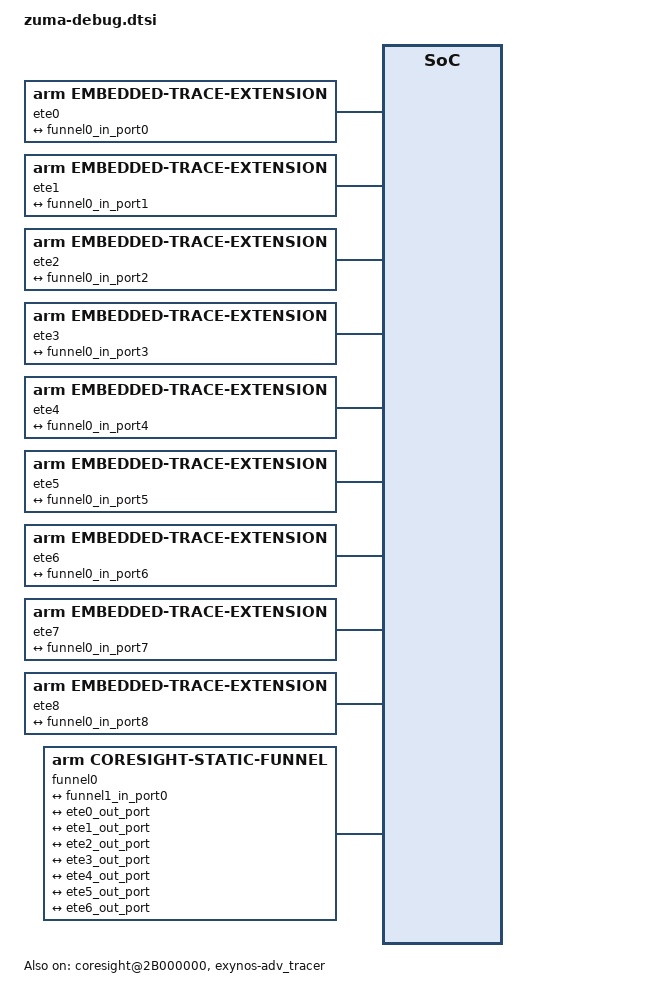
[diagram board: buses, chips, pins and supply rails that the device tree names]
// SPDX-License-Identifier: GPL-2.0-only
/*
 * debug device tree source code for Zuma SoC
 *
 * Copyright 2022 Google LLC.
 */

#include <dt-bindings/interrupt-controller/zuma.h>
#include "zuma-ppmu.dtsi"
/ {
	dss: dss {
		compatible = "google,debug-snapshot";
		freq_names = "LIT", "MID", "BIG", "INT", "MIF", "ISP",
				"DISP", "INTCAM", "TPU", "TNR", "MFC",
				"BO";
		memory-region = <&header>, <&log_kevents>, <&log_bcm>, <&log_s2d>,
				<&log_arrdumpreset>, <&log_arrdumppanic>,
				<&log_slcdump>, <&log_preslcdump>,
				<&log_itmon>;
		panic-action = <GO_DEFAULT_ID>;
	};

	hardlockup-debugger {
		compatible = "google,hardlockup-debug";
		use_multistage_wdt_irq = <800>;
	};

	hardlockup-watchdog {
		compatible = "google,hardlockup-watchdog";
		sampling_time = <4>;
		opportunity_count = <3>;
		panic = <1>;
	};

	dss-built {
		compatible = "google,debug-snapshot-built";
		memory-region = <&header>;
	};

	dss-qdump {
		compatible = "google,debug-snapshot-qdump";
	};

	dss-sfrdump {
		compatible = "google,debug-snapshot-sfrdump";
		/*
		 * -----------<< Example >>-------------------
		 * dump-info {
		 *	#address-cells = <1>;
		 *	#size-cells = <1>;
		 *
		 *	gic-setenable {
		 *		reg = <0x11f01100 0x100>;
		 *	};
		 *	gic-setpend {
		 *		reg = <0x11f01200 0x100>;
		 *	};
		 *	gic-setactive {
		 *		reg = <0x11f01300 0x100>;
		 *	};
		 *};
		 */
	};

	dss-debug-kinfo {
		compatible = "google,debug-snapshot-debug-kinfo";
		memory-region = <&debug_kinfo_reserved>;
	};

	exynos-debug-test {
		compatible = "google,exynos-debug-test";
		ps_hold_control_offset = <0x3e9c>;
		nr_cpu = <0x9>;
		nr_little_cpu = <0x4>;
		nr_mid_cpu = <0x4>;
		nr_big_cpu = <0x1>;
		little_cpu_start = <0x0>;
		mid_cpu_start = <0x4>;
		big_cpu_start = <0x8>;
	};

	keydebug {
		compatible = "keydebug";
		key_down_delay = <6000>;
		keys_down = <116 115>;
		dbg_fn_delay = <2000>;
	};

	debug-kinfo {
		compatible = "google,debug-kinfo";
		memory-region = <&debug_kinfo_reserved>;
	};

	boot-metrics {
		compatible = "google,boot-metrics";

		reg = <0x0 0x02038000 0x00001000>;
		reg-names = "ns_sram_base";
		offset = <0x880>;
	};

	pixel-suspend-diag {
		compatible = "google,pixel-suspend-diag";
	};

	pmu@30000000 {
		compatible = "arm,ci-700";
		reg = <0x0 0x30000000 0x4000000>;
		interrupts = <GIC_SPI IRQ_CPUCL0_INTREQPMU_NID68_CPUCL0 IRQ_TYPE_LEVEL_HIGH 0>;
	};

	itmon: exynos-itmon {
		compatible = "samsung,exynos-itmon-v2";
		memory-region = <&log_itmon>;
		interrupts =
			<GIC_SPI IRQ_TREX_D_NOCL1A_debugInterrupt_NOCL1A
							IRQ_TYPE_LEVEL_HIGH 0>,
			<GIC_SPI IRQ_TREX_D_NOCL1B_debugInterrupt_NOCL1B
							IRQ_TYPE_LEVEL_HIGH 0>,
			<GIC_SPI IRQ_TREX_D_NOCL2AA_debugInterrupt_NOCL2AA
							IRQ_TYPE_LEVEL_HIGH 0>,
			<GIC_SPI IRQ_TREX_D_NOCL2AB_debugInterrupt_NOCL2AB
							IRQ_TYPE_LEVEL_HIGH 0>,
			<GIC_SPI IRQ_TREX_D_NOCL0_debugInterrupt_NOCL0
							IRQ_TYPE_LEVEL_HIGH 0>,
			<GIC_SPI IRQ_TREX_P_NOCL1A_debugInterrupt_NOCL1A
							IRQ_TYPE_LEVEL_HIGH 0>,
			<GIC_SPI IRQ_TREX_P_NOCL1B_debugInterrupt_NOCL1B
							IRQ_TYPE_LEVEL_HIGH 0>,
			<GIC_SPI IRQ_TREX_P_NOCL2AA_debugInterrupt_NOCL2AA
							IRQ_TYPE_LEVEL_HIGH 0>,
			<GIC_SPI IRQ_TREX_P_NOCL2AB_debugInterrupt_NOCL2AB
							IRQ_TYPE_LEVEL_HIGH 0>,
			<GIC_SPI IRQ_TREX_P_NOCL0_debugInterrupt_NOCL0
							IRQ_TYPE_LEVEL_HIGH 0>;
		interrupt-affinity = <0xff>;
		status = "ok";
	};

	booker {
		compatible = "google,booker-ci";
		reg_base = <0x30000000>;
		interrupts =
			<GIC_SPI IRQ_CPUCL0_INTREQERRNS_NID68_CPUCL0
							IRQ_TYPE_LEVEL_HIGH 0>,
			<GIC_SPI IRQ_CPUCL0_INTREQERRS_NID68_CPUCL0
							IRQ_TYPE_LEVEL_HIGH 0>,
			<GIC_SPI IRQ_CPUCL0_INTREQFAULTNS_NID68_CPUCL0
							IRQ_TYPE_LEVEL_HIGH 0>,
			<GIC_SPI IRQ_CPUCL0_INTREQFAULTS_NID68_CPUCL0
							IRQ_TYPE_LEVEL_HIGH 0>;
		interrupt-names = "BCI: Non-secure error",
			"BCI: Secure error",
			"BCI: Non-secure fault",
			"BCI: Secure fault";
		interrupt-is-secure = <0>, <1>, <0>, <1>;
		interrupt-is-error = <1>, <1>, <0>, <0>;
		status = "ok";
		node0 {
			device_type = "booker-cfg";
			offset = <0x0>;
			id = <68>;
		};
		node1 {
			device_type = "booker-mtsx";
			offset = <0x210000>;
			id = <4>;
		};
		node2 {
			device_type = "booker-mtsx";
			offset = <0x250000>;
			id = <5>;
		};
		node3 {
			device_type = "booker-mtsx";
			offset = <0x1210000>;
			id = <36>;
		};
		node4 {
			device_type = "booker-mtsx";
			offset = <0x1250000>;
			id = <37>;
		};
		node5 {
			device_type = "booker-hnf";
			offset = <0x390000>;
			id = <6>;
		};
		node6 {
			device_type = "booker-hnf";
			offset = <0x3d0000>;
			id = <7>;
		};
		node7 {
			device_type = "booker-hnf";
			offset = <0x1390000>;
			id = <38>;
		};
		node8 {
			device_type = "booker-hnf";
			offset = <0x13D0000>;
			id = <39>;
		};
		node9 {
			device_type = "booker-rnf";
			offset = <0xA0000>;
			id = <0>;
		};
		node10 {
			device_type = "booker-rnf";
			offset = <0x10A0000>;
			id = <32>;
		};
		node11 {
			device_type = "booker-rnf";
			offset = <0x20A0000>;
			id = <64>;
		};
		node12 {
			device_type = "booker-rnd";
			offset = <0x280000>;
			id = <2>;
		};
		node13 {
			device_type = "booker-rnd";
			offset = <0x1280000>;
			id = <34>;
		};
		node14 {
			device_type = "booker-hni";
			offset = <0x2180000>;
			id = <66>;
		};
		node15 {
			device_type = "booker-hnd";
			offset = <0x2150000>;
			id = <68>;
		};
		node16 {
			device_type = "booker-xp";
			offset = <0x20000>;
			id = <0>;
		};
		node17 {
			device_type = "booker-xp";
			offset = <0x1020000>;
			id = <32>;
		};
		node18 {
			device_type = "booker-xp";
			offset = <0x2020000>;
			id = <64>;
		};
	};

	coresight@2B000000 {
		compatible = "google,exynos-coresight";
		dbg_base = <0x2B110000>, <0x2B210000>, <0x2B310000>, <0x2B410000>,
			   <0x2B510000>, <0x2B610000>, <0x2B710000>, <0x2B810000>, <0x2B910000>;
		cti_base = <0x2B1E0000>, <0x2B2E0000>, <0x2B3E0000>, <0x2B4E0000>,
			   <0x2B5E0000>, <0x2B6E0000>, <0x2B7E0000>, <0x2B8E0000>, <0x2B9E0000>;
		pmu_base = <0x2B120000>, <0x2B220000>, <0x2B320000>, <0x2B420000>,
			   <0x2B520000>, <0x2B620000>, <0x2B720000>, <0x2B820000>, <0x2B920000>;
		sgi_base = <0x10450000>, <0x10470000>, <0x10490000>, <0x104B0000>,
			   <0x104D0000>, <0x104F0000>, <0x10510000>, <0x10530000>, <0x10550000>;
		gpr_base = <0x2A001000>;
		dbgack-mask = <0x1ff00000>;
		halt = <1>;
		retention = <1>;
		status = "okay";
	};

	ecc-handler {
		compatible = "google,exynos-ecc-handler";
		interrupts = <GIC_SPI IRQ_CPUCL0_CLUSTERERRIRQ_CPUCL0 IRQ_TYPE_LEVEL_HIGH 0>,
			<GIC_SPI IRQ_CPUCL0_COMPLEXERRIRQ_CPUCL0 IRQ_TYPE_LEVEL_HIGH 0>,
			<GIC_SPI IRQ_CPUCL0_COMPLEXERRIRQ_0_CPUCL0 IRQ_TYPE_LEVEL_HIGH 0>,
			<GIC_SPI IRQ_CPUCL0_ERRIRQ_0_CPUCL0 IRQ_TYPE_LEVEL_HIGH 0>, /* CORE0 */
			<GIC_SPI IRQ_CPUCL0_ERRIRQ_1_CPUCL0 IRQ_TYPE_LEVEL_HIGH 0>, /* CORE1 */
			<GIC_SPI IRQ_CPUCL0_ERRIRQ_2_CPUCL0 IRQ_TYPE_LEVEL_HIGH 0>, /* CORE2 */
			<GIC_SPI IRQ_CPUCL0_ERRIRQ_3_CPUCL0 IRQ_TYPE_LEVEL_HIGH 0>, /* CORE3 */
			<GIC_SPI IRQ_CPUCL0_ERRIRQ_4_CPUCL0 IRQ_TYPE_LEVEL_HIGH 0>, /* CORE4 */
			<GIC_SPI IRQ_CPUCL0_ERRIRQ_5_CPUCL0 IRQ_TYPE_LEVEL_HIGH 0>, /* CORE5 */
			<GIC_SPI IRQ_CPUCL0_ERRIRQ_6_CPUCL0 IRQ_TYPE_LEVEL_HIGH 0>, /* CORE6 */
			<GIC_SPI IRQ_CPUCL0_ERRIRQ_7_CPUCL0 IRQ_TYPE_LEVEL_HIGH 0>, /* CORE7 */
			<GIC_SPI IRQ_CPUCL0_ERRIRQ_8_CPUCL0 IRQ_TYPE_LEVEL_HIGH 0>; /* CORE8 */
		interrupt-names = "Uncorrectable errors on the L3 data, tag or snoop filter RAMs",
			"Core0-1 Complex, Uncorrectable errors on the L2 data or tag RAMs",
			"Core2-3 Complex, Uncorrectable errors on the L2 data or tag RAMs",
			"Core0, Uncorrectable errors on the L1 data or tag RAMs",
			"Core1, Uncorrectable errors on the L1 data or tag RAMs",
			"Core2, Uncorrectable errors on the L1 data or tag RAMs",
			"Core3, Uncorrectable errors on the L1 data or tag RAMs",
			"Core4, Uncorrectable errors on the L1 data, tag or L2 data, tag RAMs",
			"Core5, Uncorrectable errors on the L1 data, tag or L2 data, tag RAMs",
			"Core6, Uncorrectable errors on the L1 data, tag or L2 data, tag RAMs",
			"Core7, Uncorrectable errors on the L1 data, tag or L2 data, tag RAMs",
			"Core8, Uncorrectable errors on the L1 data, tag or L2 data, tag RAMs";
		interrupt-affinity = <0x1ff>, <0x3>, <0xc>,
			<0x1>, <0x2>, <0x4>, <0x8>,
			<0x10>, <0x20>, <0x40>, <0x80>, <0x100>;
	};

	exynos-etm {
		compatible = "google,exynos-etm";
		cs_base = <0x2A000000>;
		boot-start = <0>;
		funnel-num = <3>;
		etf-num = <2>;
		trex-num = <4>;
		/* funnel-port = <(funnel num) (port num)>; */
		etm0 {
			device_type = "etm";
			offset = <0x1130000>;
			funnel-port = <0 0>;
		};
		etm1 {
			device_type = "etm";
			offset = <0x1230000>;
			funnel-port = <0 0>;
		};
		etm2 {
			device_type = "etm";
			offset = <0x1330000>;
			funnel-port = <0 0>;
		};
		etm3 {
			device_type = "etm";
			offset = <0x1430000>;
			funnel-port = <0 0>;
		};
		etm4 {
			device_type = "etm";
			offset = <0x1530000>;
			funnel-port = <0 0>;
		};
		etm5 {
			device_type = "etm";
			offset = <0x1630000>;
			funnel-port = <0 0>;
		};
		etm6 {
			device_type = "etm";
			offset = <0x1730000>;
			funnel-port = <0 0>;
		};
		etm7 {
			device_type = "etm";
			offset = <0x1830000>;
			funnel-port = <0 0>;
		};
		etm8 {
			device_type = "etm";
			offset = <0x1930000>;
			funnel-port = <0 0>;
		};
		etf0@4000 {
			device_type = "etf";
			offset = <0x4000>;
			funnel-port = <2 0>;
		};
		etf1@5000 {
			device_type = "etf";
			offset = <0x5000>;
			funnel-port = <2 1>;
		};
		funnel0@7000 {
			device_type = "funnel";
			offset = <0x7000>;
		};
		funnel1@8000 {
			device_type = "funnel";
			offset = <0x8000>;
		};
		funnel2@9000 {
			device_type = "funnel";
			offset = <0x9000>;
		};
		etr@A000 {
			device_type = "etr";
			sfr_base = <0x2A00C000 0x100>;
			qch-offset = <0x2c>;
			offset = <0xA000>;
			buf-size = <0x100000>;
		};
		bdu@10000 {
			device_type = "bdu";
			offset = <0x10000>;
			funnel-port = <1 5>;
		};
		bdu_etf@11000 {
			device_type = "bdu_etf";
			offset = <0x11000>;
		};
		trex0 {
			device_type = "trex";
			mux_ctrl = <0x66>;
			dbg_trace_addr = <0x1ea83010>;
			dbg_trace_val = <5>;
		};
		trex1 {
			device_type = "trex";
			mux_ctrl = <0x77>;
			dbg_trace_addr = <0x1f603010>;
			dbg_trace_val = <26>;
		};
		trex2 {
			device_type = "trex";
			mux_ctrl = <0x88>;
			dbg_trace_addr = <0x204e3010>;
			dbg_trace_val = <8>;
		};
		trex3 {
			device_type = "trex";
			mux_ctrl = <0x55>;
			dbg_trace_addr = <0x1e503010>;
			dbg_trace_val = <8>;
		};
	};

	etr-miu@110D0000 {
		compatible = "google,gs101-etr-miu";
		reg = <0x0 0x110D0000 0x100>;
		tmc_buf_addr = <0x00000010 0x00000000>;
		tmc_buf_size = <0x10000000>;
	};

	ete0 {
		compatible = "arm,embedded-trace-extension";
		cpu = <&cpu0>;

		arm,coresight-loses-context-with-cpu;

		out-ports {
			port {
				ete0_out_port: endpoint {
					remote-endpoint = <&funnel0_in_port0>;
				};
			};
		};
	};

	ete1 {
		compatible = "arm,embedded-trace-extension";
		cpu = <&cpu1>;

		arm,coresight-loses-context-with-cpu;

		out-ports {
			port {
				ete1_out_port: endpoint {
					remote-endpoint = <&funnel0_in_port1>;
				};
			};
		};
	};

	ete2 {
		compatible = "arm,embedded-trace-extension";
		cpu = <&cpu2>;

		arm,coresight-loses-context-with-cpu;

		out-ports {
			port {
				ete2_out_port: endpoint {
					remote-endpoint = <&funnel0_in_port2>;
				};
			};
		};
	};

	ete3 {
		compatible = "arm,embedded-trace-extension";
		cpu = <&cpu3>;

		arm,coresight-loses-context-with-cpu;

		out-ports {
			port {
				ete3_out_port: endpoint {
					remote-endpoint = <&funnel0_in_port3>;
				};
			};
		};
	};

	ete4 {
		compatible = "arm,embedded-trace-extension";
		cpu = <&cpu4>;

		arm,coresight-loses-context-with-cpu;

		out-ports {
			port {
				ete4_out_port: endpoint {
					remote-endpoint = <&funnel0_in_port4>;
				};
			};
		};
	};

	ete5 {
		compatible = "arm,embedded-trace-extension";
		cpu = <&cpu5>;

		arm,coresight-loses-context-with-cpu;

		out-ports {
			port {
				ete5_out_port: endpoint {
					remote-endpoint = <&funnel0_in_port5>;
				};
			};
		};
	};

	ete6 {
		compatible = "arm,embedded-trace-extension";
		cpu = <&cpu6>;

		arm,coresight-loses-context-with-cpu;

		out-ports {
			port {
				ete6_out_port: endpoint {
					remote-endpoint = <&funnel0_in_port6>;
				};
			};
		};
	};

	ete7 {
		compatible = "arm,embedded-trace-extension";
		cpu = <&cpu7>;

		arm,coresight-loses-context-with-cpu;

		out-ports {
			port {
				ete7_out_port: endpoint {
					remote-endpoint = <&funnel0_in_port7>;
				};
			};
		};
	};

	ete8 {
		compatible = "arm,embedded-trace-extension";
		cpu = <&cpu8>;

		arm,coresight-loses-context-with-cpu;

		out-ports {
			port {
				ete8_out_port: endpoint {
					remote-endpoint = <&funnel0_in_port8>;
				};
			};
		};
	};

	funnel0 {
		compatible = "arm,coresight-static-funnel";

		coresight-name = "coresight-funnel0";

		out-ports {
			port {
				funnel0_out_port: endpoint {
					remote-endpoint = <&funnel1_in_port0>;
				};
			};
		};

		in-ports {
			#address-cells = <1>;
			#size-cells = <0>;

			port@0 {
				reg = <0>;
				funnel0_in_port0: endpoint {
					remote-endpoint = <&ete0_out_port>;
				};
			};

			port@1 {
				reg = <1>;
				funnel0_in_port1: endpoint {
					remote-endpoint = <&ete1_out_port>;
				};
			};

			port@2 {
				reg = <2>;
				funnel0_in_port2: endpoint {
					remote-endpoint = <&ete2_out_port>;
				};
			};

			port@3 {
				reg = <3>;
				funnel0_in_port3: endpoint {
					remote-endpoint = <&ete3_out_port>;
				};
			};

			port@4 {
				reg = <4>;
				funnel0_in_port4: endpoint {
					remote-endpoint = <&ete4_out_port>;
				};
			};

			port@5 {
				reg = <5>;
				funnel0_in_port5: endpoint {
					remote-endpoint = <&ete5_out_port>;
				};
			};

			port@6 {
				reg = <6>;
				funnel0_in_port6: endpoint {
					remote-endpoint = <&ete6_out_port>;
				};
			};

			port@7 {
				reg = <7>;
				funnel0_in_port7: endpoint {
					remote-endpoint = <&ete7_out_port>;
				};
			};

			port@8 {
				reg = <8>;
				funnel0_in_port8: endpoint {
					remote-endpoint = <&ete8_out_port>;
				};
			};
		};
	};

	funnel1: funnel@2a007000 {
		compatible = "arm,primecell";
		arm,primecell-periphid = <0x000bb908>;

		reg = <0 0x2a007000 0x1000>;
		reg-names = "funnel-base";

		coresight-name = "coresight-funnel1";

		clocks = <&clock ATCLK>;
		clock-names = "apb_pclk";

		out-ports {
			port {
				funnel1_out_port: endpoint {
					remote-endpoint = <&etf0_in_port>;
				};
			};
		};

		in-ports {
			#address-cells = <1>;
			#size-cells = <0>;

			port@0 {
				reg = <0>;
				funnel1_in_port0: endpoint {
					remote-endpoint = <&funnel0_out_port>;
				};
			};
		};
	};

	funnel2: funnel@2a009000 {
		compatible = "arm,primecell";
		arm,primecell-periphid = <0x000bb908>;

		reg = <0 0x2a009000 0x1000>;
		reg-names = "funnel-base";

		coresight-name = "coresight-funnel2";

		clocks = <&clock ATCLK>;
		clock-names = "apb_pclk";

		out-ports {
			port {
				funnel2_out_port: endpoint {
					remote-endpoint = <&etr_in_port>;
				};
			};
		};

		in-ports {
			#address-cells = <1>;
			#size-cells = <0>;

			port@0 {
				reg = <0>;
				funnel2_in_port0: endpoint {
					remote-endpoint = <&etf0_out_port>;
				};
			};
		};
	};

	etf0: etf@2a004000 {
		compatible = "arm,coresight-tmc", "arm,primecell";
		arm,primecell-periphid = <0x001bb961>;
		reg = <0 0x2a004000 0x1000>;

		coresight-name = "coresight-etf0";

		clocks = <&clock ATCLK>;
		clock-names = "apb_pclk";

		in-ports {
			port {
				etf0_in_port: endpoint {
					remote-endpoint = <&funnel1_out_port>;
				};
			};
		};

		out-ports {
			port {
				etf0_out_port: endpoint {
					remote-endpoint = <&funnel2_in_port0>;
				};
			};
		};
	};

	etr: etr@2a00a000 {
		compatible = "arm,coresight-tmc", "arm,primecell";
		arm,primecell-periphid = <0x001bb961>;
		reg = <0 0x2a00a000 0x1000>;

		coresight-name = "coresight-etr";
		arm,scatter-gather;

		clocks = <&clock ATCLK>;
		clock-names = "apb_pclk";

		in-ports {
			port {
				etr_in_port: endpoint {
					remote-endpoint = <&funnel2_out_port>;
				};
			};
		};
	};

	exynos-adv_tracer {
		compatible = "google,exynos-adv-tracer";
		reg = <0x0 0x15260000 0x1000>;
		reg-names = "mailbox";
		interrupts = <GIC_SPI IRQ_MAILBOX_DBGCORE2AP_ALIVE IRQ_TYPE_LEVEL_HIGH 0>;
		pmu-dbgcore-config = <0x3080>;
		pmu-dbgcore-status = <0x3084>;
		intr-bitoffset = <0>;
		irq_affinity = "2-3";
		status = "okay";
	};

	exynos_adv_tracer_s2d {
		compatible = "google,exynos-adv-tracer-s2d";
		plugin-len = <3>;
		plugin-name = "S2D";
		pmu-burnin-ctrl = <0x3cd0>;
		sel-scanmode-bit = <25>;
		dbgsel-sw-bit = <4>;
		blk-list = "AOC", "AOCCORE", "AUR", "AURCORE", "BW",
			   "BWCORE","CMU", "CPUCL0", "CLUSTER0", "DPUB",
			   "DPUF0", "DPUF1", "EH", "G2D", "G3D",
			   "GPU", "GDC", "GSA", "GSE", "HSI0",
			   "HSI1", "HSI2", "ISPFE", "ISPFECORE", "MCSC",
			   "MFC", "MIF1", "MIF2", "MIF3", "MISC",
			   "NOCL0", "NOCL1A", "NOCL1B", "NOCL2AA", "NOCL2AB",
			   "PERIC0", "PERIC1", "RGBP", "TNR", "TPU",
			   "TPUCORE", "YUVP", "SLC0", "SLC1", "SLC2",
			   "SLC3";

		status = "okay";
	};

	exynos-ehld {
		compatible = "google,exynos-ehld";
		#address-cells = <1>;
		#size-cells = <1>;
		cs_base = <0x2b000000>;
		sgi_base = <0x10450000>, <0x10470000>, <0x10490000>, <0x104B0000>,
			   <0x104D0000>, <0x104F0000>, <0x10510000>, <0x10530000>, <0x10550000>;
		gic_rd_base = <0x10440000>, <0x10460000>, <0x10480000>, <0x104A0000>,
			      <0x104C0000>, <0x104E0000>, <0x10500000>, <0x10520000>, <0x10540000>;
		status = "ok";

		dbgc {
			/* IPC */
			plugin-len = <4>;
			plugin-name = "ELD";
			support = <1>;
			interval = <1000>;
			warn-count = <4>;
			use-tick-timer = <0>;
		};

		cpu0 {
			dbg-offset = <0x110000>;
		};
		cpu1 {
			dbg-offset = <0x210000>;
		};
		cpu2 {
			dbg-offset = <0x310000>;
		};
		cpu3 {
			dbg-offset = <0x410000>;
		};
		cpu4 {
			dbg-offset = <0x510000>;
		};
		cpu5 {
			dbg-offset = <0x610000>;
		};
		cpu6 {
			dbg-offset = <0x710000>;
		};
		cpu7 {
			dbg-offset = <0x810000>;
		};
		cpu8 {
			dbg-offset = <0x910000>;
		};
	};

	sjtag_ap {
		compatible = "google,sjtag";
		ms-per-tick = <5590>;
		ipc-timeout-ms = <3000>;
		pubkey = /bits/ 8 <0x25 0x67 0x3b 0x55 0xc9 0xb4 0x7b 0x4c 0x15 0xd3 0x78 0x42
				   0xbb 0x52 0x3f 0x77 0x94 0xa2 0xf6 0x4f 0x81 0xf2 0xe4 0x84
				   0xd4 0x13 0x89 0x82 0x3d 0x58 0x30 0xa0 0x2d 0xe8 0x5c 0xc1
				   0xd8 0x34 0x61 0x8c 0x82 0x5b 0x63 0x7f 0x94 0x12 0xa9 0x36
				   0x5c 0xed 0x76 0x39 0x12 0xd2 0x98 0x2c 0x02 0x6a 0x5f 0x6d
				   0x12 0x7d 0x4c 0x06 0xa5 0x00 0x00 0x00 0x45 0x09 0x4e 0x61
				   0x0c 0x8e 0x17 0x9d 0x58 0xab 0xf5 0x92 0xfa 0x9f 0x26 0x0c
				   0x5f 0xe8 0x58 0xd6 0xec 0xb9 0x46 0x59 0x75 0x6d 0x0a 0xca
				   0xf9 0xe3 0x7d 0x57 0x5f 0x89 0x6f 0x46 0xb8 0xd1 0xda 0x1b
				   0x71 0x69 0x81 0x19 0x6d 0x78 0x9d 0xbf 0xa9 0x18 0xc1 0xb9
				   0x86 0xc4 0x6a 0xf7 0xb8 0xd4 0x15 0xea 0x9e 0x3c 0xf2 0x9e
				   0xc5 0x00 0x00 0x00>;
		dbg-domain = <0x80282ff9>;
		access-lvl = <0xc0000cc0 0x0cffffc3>;
		dbg-itvl = <0>;
		gsa-device = <&gsa>;
	};

	sjtag_gsa {
		compatible = "google,sjtag";
		ms-per-tick = <5590>;
		ipc-timeout-ms = <450>;
		pubkey = /bits/ 8 <0xc3 0x89 0x27 0x67 0xeb 0x7f 0x7d 0x37 0x41 0x04 0x74 0x0d
				   0x59 0x91 0xad 0x6c 0x14 0x8f 0xf5 0x9a 0x95 0xee 0x1e 0x4b
				   0x0c 0x61 0x62 0xe4 0x9c 0x0b 0x53 0x18 0xb2 0x25 0x0b 0x16
				   0x1c 0x67 0x14 0xe3 0x08 0x64 0x53 0xbe 0xcd 0x7e 0xa1 0x68
				   0xd8 0x03 0x78 0xd2 0x6b 0x55 0x46 0x43 0x3b 0xe8 0xda 0xb1
				   0xa9 0x8e 0xb1 0x89 0x91 0x00 0x00 0x00 0x4d 0x91 0xee 0xcf
				   0xb0 0x64 0x9a 0x30 0xbe 0xaa 0x62 0x37 0xbf 0x65 0xcb 0x69
				   0xee 0x8e 0x1c 0xeb 0x8b 0xf4 0xc5 0xbc 0x8c 0xbe 0x7b 0x0e
				   0x40 0x99 0xca 0xc8 0x48 0x48 0xf1 0xbf 0x3b 0xfb 0xb4 0x3f
				   0x24 0x19 0xe0 0x06 0x15 0xb0 0x91 0xd4 0x1e 0x96 0x4a 0x41
				   0xf4 0x5a 0x2a 0xe1 0xe7 0xc9 0xe7 0x1b 0xf1 0xd8 0xf4 0x7e
				   0x35 0x01 0x00 0x00>;
		dbg-domain = <0x0000006f>;
		access-lvl = <0x00000000 0x00003cff>;
		dbg-itvl = <0>;
		gsa-device = <&gsa>;
	};
};
